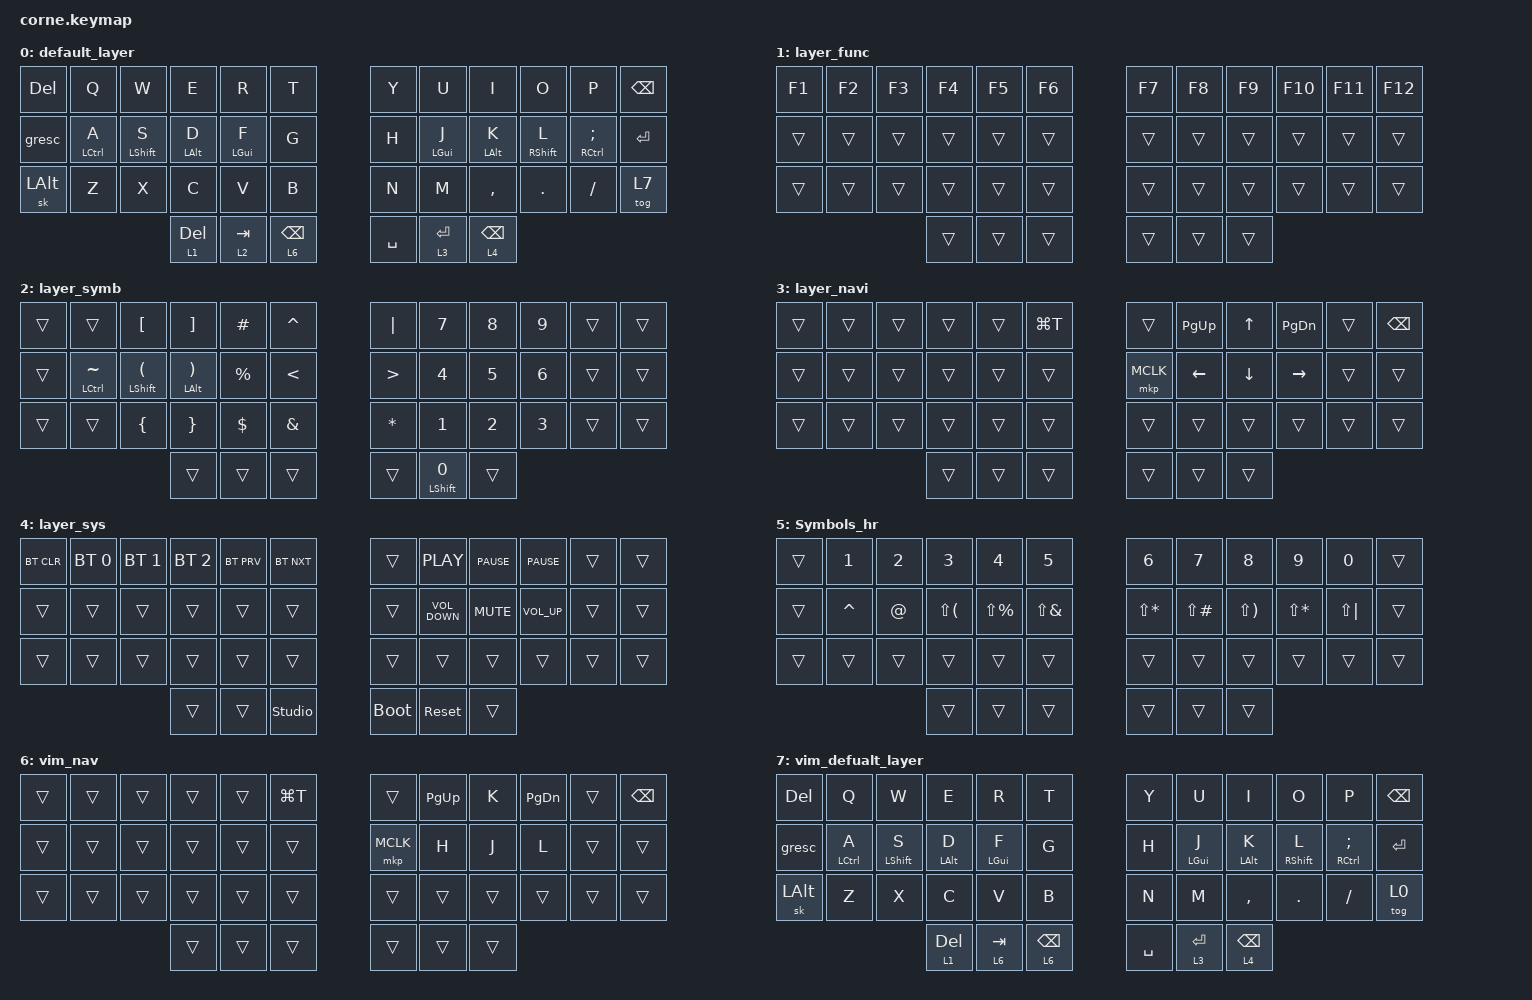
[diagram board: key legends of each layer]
/*


#include <behaviors.dtsi>
#include <dt-bindings/zmk/keys.h>
#include <dt-bindings/zmk/bt.h>

#define BASE 0
#define NAV 1
#define SYM 2
#define UTIL 3

/ {
  behaviors {
    hm: homerow_mods {
      compatible = "zmk,behavior-hold-tap";
      label = "HOMEROW_MODS";
      #binding-cells = <2>;
      tapping-term-ms = <250>;
      quick_tap_ms = <0>;
      flavor = "tap-preferred";
      bindings = <&kp>, <&kp>;
    };
  };
  keymap {
    compatible = "zmk,keymap";

    Base_layer {
      bindings = <
        &kp TAB &kp Q &kp W &kp E &kp R &kp T &kp Y &kp U &kp I &kp O &kp P &kp BACKSPACE &hm LCTRL ESCAPE &hm LCTRL A &hm LSHFT S &hm LALT D &hm LGUI F &kp G &kp H &hm RGUI J &hm RALT K &hm RSHFT L &hm RCTRL SEMICOLON &kp SINGLE_QUOTE &kp LEFT_SHIFT &kp Z &kp X &kp C &kp V &kp B &kp N &kp M &kp COMMA &kp PERIOD &kp SLASH &kp BACKSLASH &mo SYM &mo NAV &kp RETURN &kp SPACE &kp BACKSPACE &mo UTIL 
      >;
    };

    nav_layer {
      bindings = <
        &none &none &none &none &none &none &kp PG_UP &kp HOME &kp UP &kp END &none &none &bt BT_CLR &bt BT_SEL 0 &bt BT_SEL 1 &bt BT_SEL 2 &bt BT_SEL 3 &bt BT_SEL 4 &kp PG_DN &kp LEFT &kp DOWN &kp RIGHT &none &none &none &none &none &none &none &none &none &none &none &none &none &none &none &none &none &none &none &none 
      >;
    };

    sym_layer {
      bindings = <
        &none &none &none &none &none &none &kp ASTERISK &kp NUMBER_7 &kp NUMBER_8 &kp NUMBER_9 &kp PLUS &none &none &none &none &none &none &none &kp SLASH &kp NUMBER_4 &kp NUMBER_5 &kp NUMBER_6 &kp MINUS &none &none &none &none &none &none &none &kp UNDERSCORE &kp NUMBER_1 &kp NUMBER_2 &kp NUMBER_3 &kp EQUAL &none &none &none &none &none &none &kp NUMBER_0 
      >;
    };

    util_layer {
      bindings = <
        &none &none &none &none &none &none &none &none &none &none &none &none &none &none &none &none &none &none &none &none &none &none &none &none &none &none &none &none &none &none &none &none &none &none &none &none &none &none &none &none &none &none 
      >;
    };
  };
};
*/
/*
 * Copyright (c) 2020 The ZMK Contributors
 *
 * SPDX-License-Identifier: MIT
 */

#include <behaviors.dtsi>
#include <dt-bindings/zmk/bt.h>
#include <dt-bindings/zmk/keys.h>
#include <dt-bindings/zmk/pointing.h>

/ {
    behaviors {
        lhmp: left_homerow_mods_pinky {
            compatible = "zmk,behavior-hold-tap";
            label = "LEFT_HOMEROW_MODS_PINKY";
            #binding-cells = <2>;
            tapping-term-ms = <230>;
            quick_tap_ms = <0>;
            flavor = "balanced";
            bindings = <&kp>, <&kp>;

            require-prior-idle-ms = <100>;
            quick-tap-ms = <160>;
            hold-trigger-on-release;
            hold-trigger-key-positions = <8 9 10 11 18 19 20 21 22 23 30 31 32 33 34 35 7 6 7 8 9 10 11 18 19 20 21 22 23 30 31 32 33 34 35 6 7 8 9 10 18 19 20 21 22 30 31 32 33 34 6 7 8 9 10 18 19 20 21 22 30 31 32 33 6 7 8 9 18 19 20 21 30 31 32 33 26 27 28 5 16>;
        };

        lhmr: left_homerow_mods_ring {
            compatible = "zmk,behavior-hold-tap";
            label = "LEFT_HOMEROW_MODS_RING";
            #binding-cells = <2>;
            tapping-term-ms = <230>;
            quick_tap_ms = <0>;
            flavor = "balanced";
            bindings = <&kp>, <&kp>;

            require-prior-idle-ms = <100>;
            quick-tap-ms = <160>;
            hold-trigger-on-release;
            hold-trigger-key-positions = <8 9 10 11 18 19 20 21 22 23 30 31 32 33 34 35 7 6 7 8 9 10 11 18 19 20 21 22 23 30 31 32 33 34 35 6 7 8 9 10 18 19 20 21 22 30 31 32 33 34 6 7 8 9 10 18 19 20 21 22 30 31 32 33 6 7 8 9 18 19 20 21 30 31 32 33>;
        };

        lhmm: left_homerow_mods_middle {
            compatible = "zmk,behavior-hold-tap";
            label = "LEFT_HOMEROW_MODS_MIDDLE";
            #binding-cells = <2>;
            tapping-term-ms = <210>;
            quick_tap_ms = <0>;
            flavor = "balanced";
            bindings = <&kp>, <&kp>;

            require-prior-idle-ms = <100>;
            quick-tap-ms = <160>;
            hold-trigger-on-release;
            hold-trigger-key-positions = <8 9 10 11 18 19 20 21 22 23 30 31 32 33 34 35 7 6 7 8 9 10 11 18 19 20 21 22 23 30 31 32 33 34 35 6 7 8 9 10 18 19 20 21 22 30 31 32 33 34 6 7 8 9 10 18 19 20 21 22 30 31 32 33 6 7 8 9 18 19 20 21 30 31 32 33>;
        };

        lhmi: left_homerow_mods_index {
            compatible = "zmk,behavior-hold-tap";
            label = "LEFT_HOMEROW_MODS_INDEX";
            #binding-cells = <2>;
            tapping-term-ms = <210>;
            quick_tap_ms = <0>;
            flavor = "balanced";
            bindings = <&kp>, <&kp>;

            require-prior-idle-ms = <100>;
            quick-tap-ms = <160>;
            hold-trigger-on-release;
            hold-trigger-key-positions = <8 9 10 11 18 19 20 21 22 23 30 31 32 33 34 35 7 6 7 8 9 10 11 18 19 20 21 22 23 30 31 32 33 34 35 6 7 8 9 10 18 19 20 21 22 30 31 32 33 34 6 7 8 9 10 18 19 20 21 22 30 31 32 33 6 7 8 9 18 19 20 21 30 31 32 33>;
        };

        rhmp: right_homerow_mods_pinky {
            compatible = "zmk,behavior-hold-tap";
            label = "RIGHT_HOMEROW_MODS_PINKY";
            #binding-cells = <2>;
            tapping-term-ms = <230>;
            quick_tap_ms = <0>;
            flavor = "balanced";
            bindings = <&kp>, <&kp>;

            require-prior-idle-ms = <100>;
            quick-tap-ms = <160>;
            hold-trigger-on-release;
            hold-trigger-key-positions = <0 1 2 3 4 5 12 13 14 15 16 17 24 25 26 27 28 29>;
        };

        rhmr: right_homerow_mods_ring {
            compatible = "zmk,behavior-hold-tap";
            label = "RIGHT_HOMEROW_MODS_ring";
            #binding-cells = <2>;
            tapping-term-ms = <230>;
            quick_tap_ms = <0>;
            flavor = "balanced";
            bindings = <&kp>, <&kp>;

            require-prior-idle-ms = <100>;
            quick-tap-ms = <160>;
            hold-trigger-on-release;
            hold-trigger-key-positions = <0 1 2 3 4 5 12 13 14 15 16 17 24 25 26 27 28 29>;
        };

        rhmm: right_homerow_mods_middle {
            compatible = "zmk,behavior-hold-tap";
            label = "RIGHT_HOMEROW_MODS_MIDDLE";
            #binding-cells = <2>;
            tapping-term-ms = <210>;
            quick_tap_ms = <0>;
            flavor = "balanced";
            bindings = <&kp>, <&kp>;

            require-prior-idle-ms = <100>;
            quick-tap-ms = <160>;
            hold-trigger-on-release;
            hold-trigger-key-positions = <0 1 2 3 4 5 12 13 14 15 16 17 24 25 26 27 28 29>;
        };

        rhmi: right_homerow_mods_index {
            compatible = "zmk,behavior-hold-tap";
            label = "RIGHT_HOMEROW_MODS_INDEX";
            #binding-cells = <2>;
            tapping-term-ms = <210>;
            quick_tap_ms = <0>;
            flavor = "balanced";
            bindings = <&kp>, <&kp>;

            require-prior-idle-ms = <100>;
            quick-tap-ms = <160>;
            hold-trigger-on-release;
            hold-trigger-key-positions = <0 1 2 3 4 5 12 13 14 15 16 17 24 25 26 27 28 29>;
        };

        hm: homerow_mods {
            compatible = "zmk,behavior-hold-tap";
            label = "HOMEROW_MODS";
            #binding-cells = <2>;
            tapping-term-ms = <280>;
            quick_tap_ms = <0>;
            flavor = "balanced";
            bindings = <&kp>, <&kp>;

            require-prior-idle-ms = <100>;
            quick-tap-ms = <175>;
            hold-trigger-on-release;
        };

        tm: thumb_mods {
            compatible = "zmk,behavior-hold-tap";
            label = "THUMB_MODS";
            #binding-cells = <2>;
            tapping-term-ms = <200>;
            quick_tap_ms = <0>;
            flavor = "balanced";
            bindings = <&kp>, <&kp>;

            require-prior-idle-ms = <100>;
            quick-tap-ms = <175>;
            hold-trigger-on-release;
        };
    };

    combos {
        compatible = "zmk,combos";

        singlequotes+double {
            bindings = <&kp SINGLE_QUOTE>;
            key-positions = <8 19>;
            require-prior-idle-ms = <150>;
        };

        grave+tilde {
            bindings = <&kp GRAVE>;
            key-positions = <3 16>;
        };

        slash {
            bindings = <&kp SLASH>;
            key-positions = <20 31>;
        };

        backslash {
            bindings = <&kp BACKSLASH>;
            key-positions = <15 28>;
        };

        tilde {
            bindings = <&kp TILDE>;
            key-positions = <0 1>;
        };

        capsword {
            bindings = <&caps_word>;
            key-positions = <14 21>;
        };

        star {
            bindings = <&kp STAR>;
            key-positions = <30 31>;
            require-prior-idle-ms = <150>;
        };

        ampersand {
            bindings = <&kp AMPERSAND>;
            key-positions = <29 28>;
        };

        double_quotes {
            bindings = <&kp DOUBLE_QUOTES>;
            key-positions = <8 19 9>;
            require-prior-idle-ms = <150>;
        };

        plus {
            bindings = <&kp PLUS>;
            key-positions = <18 19>;
        };

        minus {
            bindings = <&kp MINUS>;
            key-positions = <7 8>;
            layers = <0 2>;
        };

        underscore {
            bindings = <&kp UNDER>;
            key-positions = <31 33>;
        };

        equals {
            bindings = <&kp EQUAL>;
            key-positions = <8 9>;
            require-prior-idle-ms = <40>;
            layers = <0 2>;
        };

        question {
            bindings = <&kp QUESTION>;
            key-positions = <32 33>;
        };

        exclaimation {
            bindings = <&kp EXCL>;
            key-positions = <32 31>;
        };

        paren {
            bindings = <&combo_parens>;
            key-positions = <14 15>;
        };

        brace {
            bindings = <&combo_brace>;
            key-positions = <27 26>;
        };

        bracket {
            bindings = <&combo_bracket>;
            key-positions = <3 2>;
        };

        percent {
            bindings = <&kp PERCENT>;
            key-positions = <16 17>;
        };

        pipe {
            bindings = <&kp PIPE>;
            key-positions = <6 7>;
        };

        caret {
            bindings = <&kp CARET>;
            key-positions = <5 4>;
        };

        at {
            bindings = <&kp AT>;
            key-positions = <1 2>;
        };

        home {
            bindings = <&kp HOME>;
            key-positions = <7 8>;
            layers = <3>;
        };

        end {
            bindings = <&kp END>;
            key-positions = <8 9>;
            layers = <3>;
        };

        ctrl_left_arrow {
            bindings = <&kp LC(LEFT_ARROW)>;
            key-positions = <19 20>;
            layers = <3>;
        };

        ctrl_right_arrow {
            bindings = <&kp LC(RIGHT)>;
            key-positions = <20 21>;
            layers = <3>;
        };

        greater {
            bindings = <&kp GREATER_THAN>;
            key-positions = <19 30>;
        };

        less_than {
            bindings = <&kp LESS_THAN>;
            key-positions = <29 16>;
        };
    };

    macros {
        combo_parens: combo_parens {
            compatible = "zmk,behavior-macro";
            #binding-cells = <0>;
            bindings = <&kp LPAR &kp RPAR &kp LEFT>;
            label = "COMBO_PARENS";
        };

        combo_brace: combo_brace {
            compatible = "zmk,behavior-macro";
            #binding-cells = <0>;
            bindings = <&kp LEFT_BRACE &kp RIGHT_BRACE &kp LEFT_ARROW>;
            label = "COMBO_BRACE";
        };

        combo_bracket: combo_bracket {
            compatible = "zmk,behavior-macro";
            #binding-cells = <0>;
            bindings = <&kp LEFT_BRACKET &kp RIGHT_BRACKET &kp LEFT>;
            label = "COMBO_BRACKET";
        };
    };

    keymap {
        compatible = "zmk,keymap";

        default_layer {
            // -----------------------------------------------------------------------------------------
            // |  TAB |  Q  |  W  |  E  |  R  |  T  |   |  Y  |  U   |  I  |  O  |  P  | BSPC |
            // | CTRL |  A  |  S  |  D  |  F  |  G  |   |  H  |  J   |  K  |  L  |  ;  |  '   |
            // | SHFT |  Z  |  X  |  C  |  V  |  B  |   |  N  |  M   |  ,  |  .  |  /  | ESC  |
            //                    | GUI | LWR | SPC |   | ENT | RSE  | ALT |

            bindings = <
&kp DELETE    &kp Q                 &kp W               &kp E             &kp R             &kp T              &kp Y      &kp U             &kp I             &kp O                &kp P                     &kp BSPC
&gresc        &lhmp LEFT_CONTROL A  &lhmr LEFT_SHIFT S  &lhmm LEFT_ALT D  &lhmi LEFT_GUI F  &kp G              &kp H      &rhmi LEFT_GUI J  &rhmm LEFT_ALT K  &rhmr RIGHT_SHIFT L  &rhmp RIGHT_CONTROL SEMI  &kp ENTER
&sk LEFT_ALT  &kp Z                 &kp X               &kp C             &kp V             &kp B              &kp N      &kp M             &kp COMMA         &kp DOT              &kp FSLH                  &tog 7
                                                        &lt 1 DEL         &lt 2 TAB         &lt 6 BACKSPACE    &kp SPACE  &lt 3 ENTER       &lt 4 BACKSPACE
            >;
        };

        layer_func {
            bindings = <
&kp F1  &kp F2  &kp F3  &kp F4  &kp F5  &kp F6    &kp F7  &kp F8  &kp F9  &kp F10  &kp F11  &kp F12
&trans  &trans  &trans  &trans  &trans  &trans    &trans  &trans  &trans  &trans   &trans   &trans
&trans  &trans  &trans  &trans  &trans  &trans    &trans  &trans  &trans  &trans   &trans   &trans
                        &trans  &trans  &trans    &trans  &trans  &trans
            >;
        };

        layer_symb {
            bindings = <
&trans  &trans                    &kp LEFT_BRACKET                   &kp RIGHT_BRACKET                 &kp HASH     &kp CARET        &kp PIPE          &kp N7               &kp N8  &kp N9  &trans  &trans
&trans  &lhmp LEFT_CONTROL TILDE  &lhmp LEFT_SHIFT LEFT_PARENTHESIS  &lhmp LEFT_ALT RIGHT_PARENTHESIS  &kp PERCENT  &kp LESS_THAN    &kp GREATER_THAN  &kp N4               &kp N5  &kp N6  &trans  &trans
&trans  &trans                    &kp LEFT_BRACE                     &kp RIGHT_BRACE                   &kp DOLLAR   &kp AMPS         &kp STAR          &kp N1               &kp N2  &kp N3  &trans  &trans
                                                                     &trans                            &trans       &trans           &trans            &lhmp LEFT_SHIFT N0  &trans
            >;
        };

        layer_navi {
            bindings = <
&trans  &trans  &trans  &trans  &trans  &kp LG(T)    &trans     &kp PAGE_UP  &kp UP    &kp PAGE_DOWN  &trans  &kp BACKSPACE
&trans  &trans  &trans  &trans  &trans  &trans       &mkp MCLK  &kp LEFT     &kp DOWN  &kp RIGHT      &trans  &trans
&trans  &trans  &trans  &trans  &trans  &trans       &trans     &trans       &trans    &trans         &trans  &trans
                        &trans  &trans  &trans       &trans     &trans       &trans
            >;
        };

        layer_sys {
            bindings = <
&bt BT_CLR  &bt BT_SEL 0  &bt BT_SEL 1  &bt BT_SEL 2  &bt BT_PRV  &bt BT_NXT        &trans       &kp C_PLAY         &kp C_PAUSE  &kp C_PAUSE      &trans  &trans
&trans      &trans        &trans        &trans        &trans      &trans            &trans       &kp C_VOLUME_DOWN  &kp C_MUTE   &kp C_VOLUME_UP  &trans  &trans
&trans      &trans        &trans        &trans        &trans      &trans            &trans       &trans             &trans       &trans           &trans  &trans
                                        &trans        &trans      &studio_unlock    &bootloader  &sys_reset         &trans
            >;
        };

        Symbols_hr {
            bindings = <
&trans  &kp NUMBER_1  &kp N2  &kp N3        &kp N4         &kp N5          &kp N6        &kp N7         &kp N8        &kp N9        &kp N0        &trans
&trans  &kp CARET     &kp AT  &kp LS(LPAR)  &kp LS(PRCNT)  &kp LS(AMPS)    &kp LS(STAR)  &kp LS(POUND)  &kp LS(RPAR)  &kp LS(STAR)  &kp LS(PIPE)  &trans
&trans  &trans        &trans  &trans        &trans         &trans          &trans        &trans         &trans        &trans        &trans        &trans
                              &trans        &trans         &trans          &trans        &trans         &trans
            >;
        };

        vim_nav {
            bindings = <
&trans  &trans  &trans  &trans  &trans  &kp LG(T)    &trans     &kp PAGE_UP  &kp K   &kp PAGE_DOWN  &trans  &kp BACKSPACE
&trans  &trans  &trans  &trans  &trans  &trans       &mkp MCLK  &kp H        &kp J   &kp L          &trans  &trans
&trans  &trans  &trans  &trans  &trans  &trans       &trans     &trans       &trans  &trans         &trans  &trans
                        &trans  &trans  &trans       &trans     &trans       &trans
            >;
        };

        vim_defualt_layer {
            bindings = <
&kp DELETE    &kp Q                 &kp W               &kp E             &kp R             &kp T              &kp Y      &kp U             &kp I             &kp O                &kp P                     &kp BSPC
&gresc        &lhmp LEFT_CONTROL A  &lhmr LEFT_SHIFT S  &lhmm LEFT_ALT D  &lhmi LEFT_GUI F  &kp G              &kp H      &rhmi LEFT_GUI J  &rhmm LEFT_ALT K  &rhmr RIGHT_SHIFT L  &rhmp RIGHT_CONTROL SEMI  &kp ENTER
&sk LEFT_ALT  &kp Z                 &kp X               &kp C             &kp V             &kp B              &kp N      &kp M             &kp COMMA         &kp DOT              &kp FSLH                  &tog 0
                                                        &lt 1 DEL         &lt 6 TAB         &lt 6 BACKSPACE    &kp SPACE  &lt 3 ENTER       &lt 4 BACKSPACE
            >;
        };
    };

    conditional_layers {
        compatible = "zmk,conditional-layers";

        SYMB {
            if-layers = <3 2>;
            then-layer = <5>;
        };
    };
};
